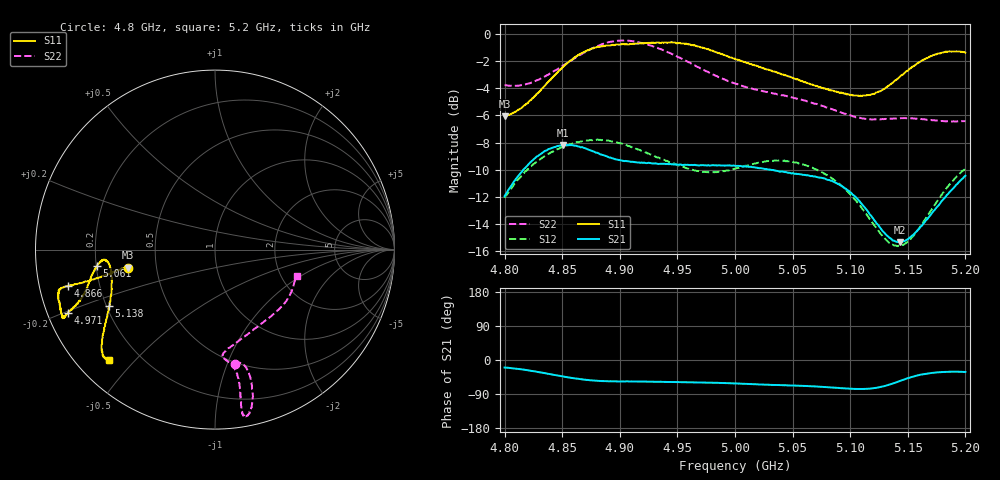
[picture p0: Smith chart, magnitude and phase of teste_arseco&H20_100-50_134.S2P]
! Network Analyzer HP8722D
! Hewlett-Packard
! Data name: Linha & Wilkinson
! Saver's name: Rodrigo Anjos
! Comments: Teste da utilização de aquisição
! continua pelo VNA HP8722D
! Time and date: 6/5/2025 13:41
!  Frequency  S11  S21  S12  S22
# HZ  S  MA R 50
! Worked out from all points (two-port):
!   401 points, 4.8 GHz to 5.2 GHz, reference 50 ohm
!   highest |S21| = -8.17 dB at 4.851 GHz (marker M1); lowest = -15.3 dB at 5.143 GHz (marker M2)
!   |S21| within 3 dB of the highest: 4.806 GHz to 5.092 GHz (286.2 MHz wide, 5.78 % of centre); 5.191468 GHz to end of sweep
!   lowest |S11| = -6.1 dB at 4.8 GHz (marker M3), VSWR 2.98, Z = 16.9 - j4.54 ohm
!   |S11| at or under -10 dB: nowhere
!   |S22| runs from -6.5 to -0.5 dB; largest |S21 - S12| = 0.62
!   S11 on the Smith chart (normalised r, x): 4.8 GHz: 0.34, -0.09; 4.866 GHz: 0.09, -0.12; 4.971 GHz: 0.06, -0.21; 5.061 GHz: 0.20, -0.07; 5.138 GHz: 0.21, -0.24; 5.2 GHz: 0.09, -0.42
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4.8e9  0.4974 -168.3  0.2532 -19.9  0.25 -141.1  0.6477 -80.3
4.824e9  0.5786 -167.6  0.342 -29.0  0.3291 -144.4  0.6628 -75.9
4.851e9  0.757 -166.0  0.3906 -43.7  0.3839 -149.6  0.766 -74.7
4.866e9  0.8444 -166.1  0.3824 -50.5  0.4019 -152.1  0.8377 -75.4
4.867e9  0.8495 -166.0  0.3833 -51.1  0.4028 -152.3  0.8434 -75.5
4.88e9  0.8937 -165.8  0.3656 -54.8  0.4081 -154.3  0.8987 -76.9
4.9e9  0.9122 -162.8  0.3432 -56.6  0.3958 -156.7  0.9427 -79.2
4.934e9  0.9279 -156.7  0.3324 -57.6  0.3506 -155.9  0.8813 -80.6
4.971e9  0.8907 -156.7  0.3291 -59.3  0.3114 -146.7  0.7439 -79.7
5e9  0.8099 -159.4  0.3271 -61.9  0.3195 -137.4  0.6558 -81.3
5.036e9  0.7215 -165.9  0.3134 -66.1  0.3422 -134.6  0.6007 -85.8
5.061e9  0.6641 -172.1  0.3024 -68.4  0.329 -136.5  0.5681 -83.9
5.067e9  0.6511 -173.3  0.3001 -69.3  0.3226 -137.0  0.5572 -82.7
5.082e9  0.6203 -174.7  0.2899 -72.0  0.2985 -138.4  0.5318 -77.1
5.101e9  0.5962 -172.1  0.2599 -76.0  0.2545 -139.0  0.5 -66.4
5.117e9  0.5957 -165.0  0.2166 -75.6  0.2082 -135.1  0.485 -54.9
5.134e9  0.6468 -154.3  0.178 -65.1  0.1701 -120.6  0.4874 -43.2
5.138e9  0.6689 -151.9  0.1737 -61.1  0.1668 -115.4  0.4883 -40.8
5.143e9  0.6945 -149.4  0.1716 -55.6  0.166 -108.7  0.4888 -38.0
5.154e9  0.7576 -144.7  0.1816 -44.3  0.1794 -95.0  0.4892 -32.3
5.174e9  0.8402 -138.6  0.2273 -33.1  0.2371 -80.4  0.4802 -23.9
5.2e9  0.8527 -134.0  0.3007 -31.6  0.3196 -77.0  0.4775 -17.6
